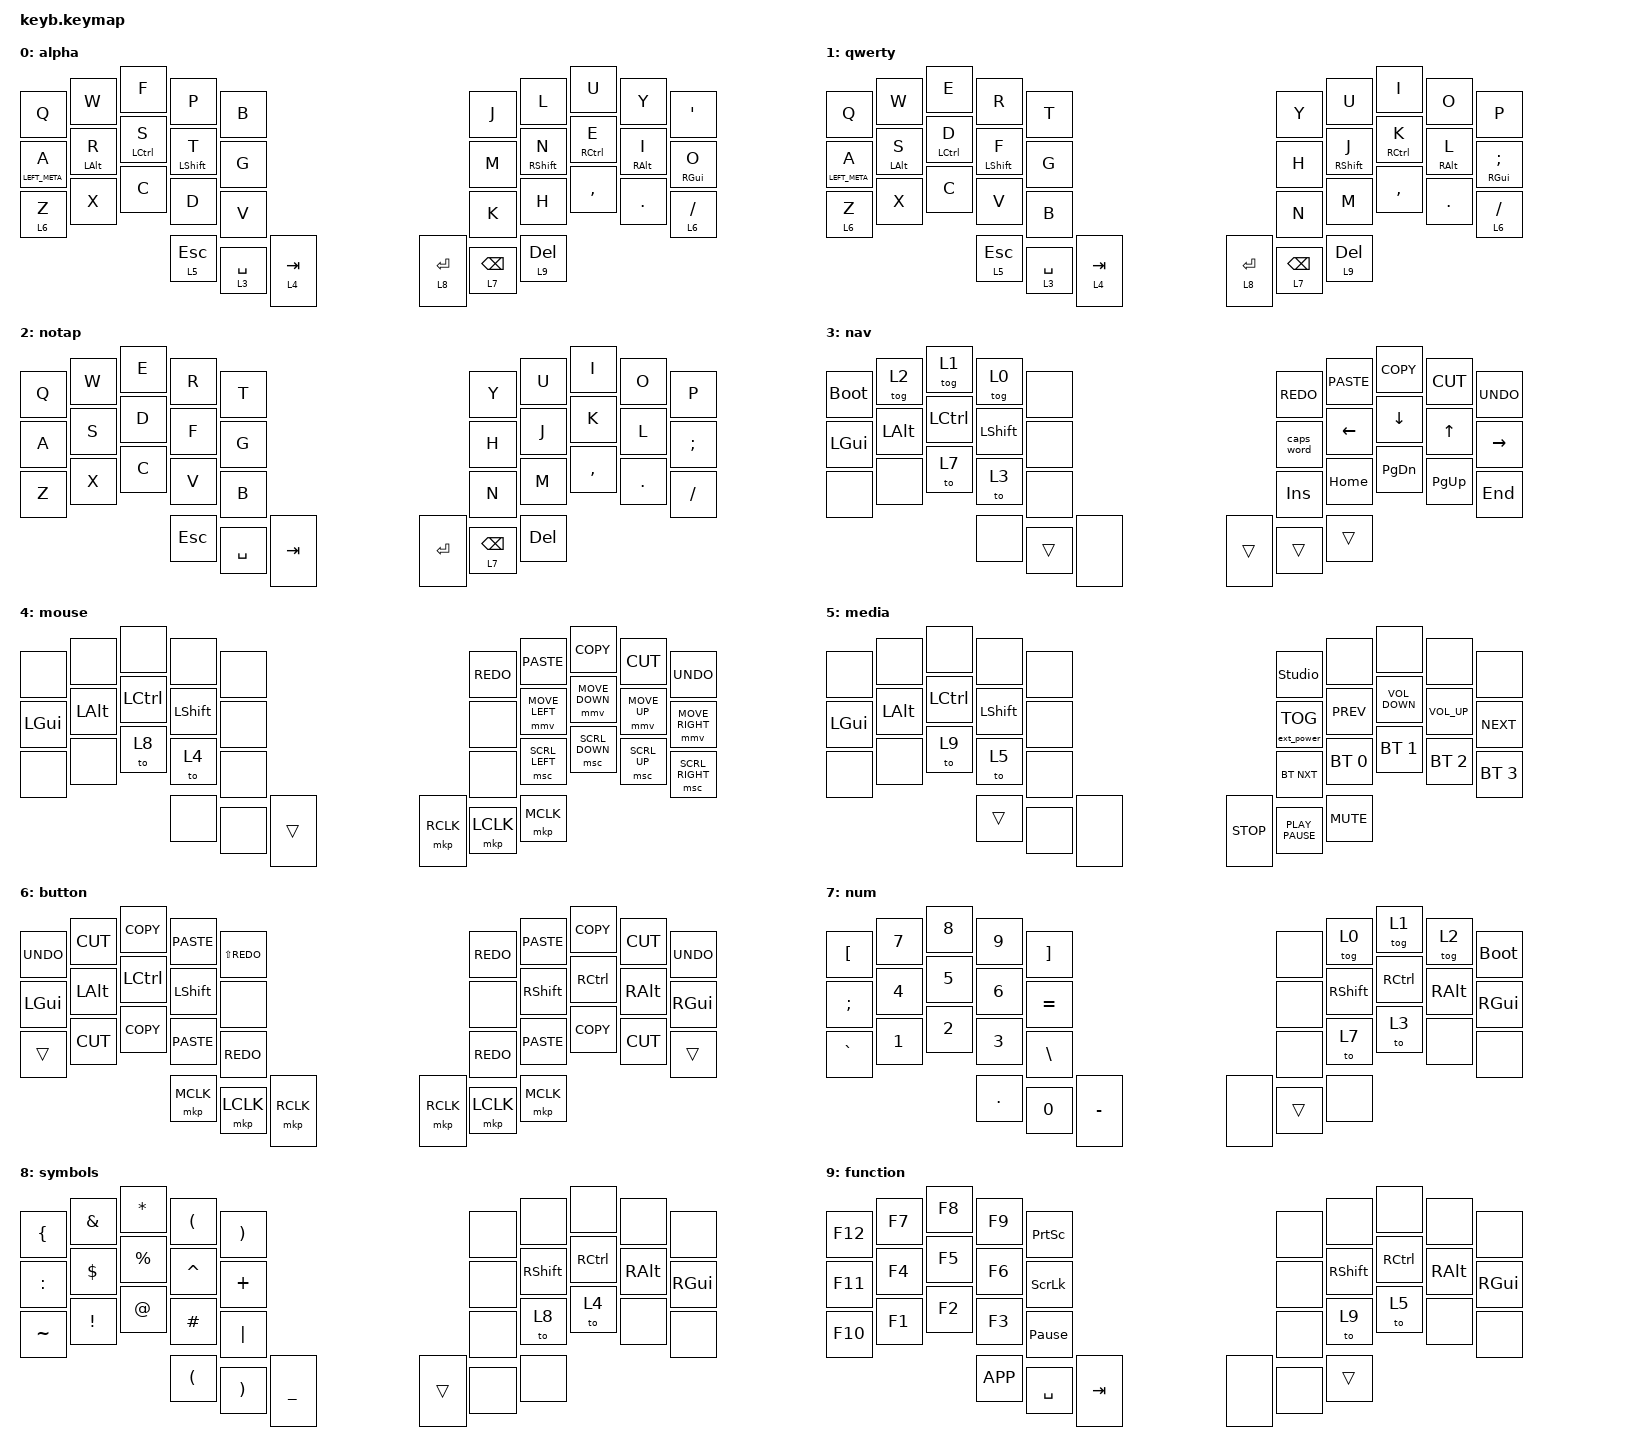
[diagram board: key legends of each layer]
#include <behaviors.dtsi>
#include <dt-bindings/zmk/bt.h>
#include <dt-bindings/zmk/ext_power.h>
#include <dt-bindings/zmk/keys.h>
#include <dt-bindings/zmk/pointing.h>

/ {
    keymap {
        compatible = "zmk,keymap";

        base {
            bindings = <
&kp Q            &kp W           &kp F         &kp P         &kp B      &kp J        &kp L              &kp U         &kp Y       &kp SQT
&mt LEFT_META A  &mt LEFT_ALT R  &mt LCTRL S   &mt LSHIFT T  &kp G      &kp M        &mt RIGHT_SHIFT N  &mt RCTRL E   &mt RALT I  &mt RGUI O
&lt 6 Z          &kp X           &kp C         &kp D         &kp V      &kp K        &kp H              &kp COMMA     &kp DOT     &lt 6 SLASH
                                 &lt 5 ESCAPE  &lt 3 SPACE   &lt 4 TAB  &lt 8 ENTER  &lt 7 BACKSPACE    &lt 9 DELETE
            >;

            label = "alpha";
        };

        extra {
            bindings = <
&kp Q            &kp W           &kp E         &kp R         &kp T      &kp Y        &kp U              &kp I         &kp O       &kp P
&mt LEFT_META A  &mt LEFT_ALT S  &mt LCTRL D   &mt LSHIFT F  &kp G      &kp H        &mt RIGHT_SHIFT J  &mt RCTRL K   &mt RALT L  &mt RGUI SEMICOLON
&lt 6 Z          &kp X           &kp C         &kp V         &kp B      &kp N        &kp M              &kp COMMA     &kp DOT     &lt 6 SLASH
                                 &lt 5 ESCAPE  &lt 3 SPACE   &lt 4 TAB  &lt 8 ENTER  &lt 7 BACKSPACE    &lt 9 DELETE
            >;

            label = "qwerty";
        };

        tap {
            bindings = <
&kp Q  &kp W  &kp E    &kp R      &kp T    &kp Y    &kp U            &kp I       &kp O    &kp P
&kp A  &kp S  &kp D    &kp F      &kp G    &kp H    &kp J            &kp K       &kp L    &kp SEMI
&kp Z  &kp X  &kp C    &kp V      &kp B    &kp N    &kp M            &kp COMMA   &kp DOT  &kp FSLH
              &kp ESC  &kp SPACE  &kp TAB  &kp RET  &lt 7 BACKSPACE  &kp DELETE
            >;

            label = "notap";
        };

        nav {
            bindings = <
&bootloader  &tog 2    &tog 1     &tog 0      &none  &kp K_REDO  &kp K_PASTE  &kp K_COPY     &kp K_CUT    &kp K_UNDO
&kp LGUI     &kp LALT  &kp LCTRL  &kp LSHIFT  &none  &caps_word  &kp LEFT     &kp DOWN       &kp UP       &kp RIGHT
&none        &none     &to 7      &to 3       &none  &kp INSERT  &kp HOME     &kp PAGE_DOWN  &kp PAGE_UP  &kp END
                       &none      &trans      &none  &trans      &trans       &trans
            >;
        };

        mouse {
            bindings = <
&none     &none     &none      &none       &none   &kp K_REDO  &kp K_PASTE     &kp K_COPY      &kp K_CUT     &kp K_UNDO
&kp LGUI  &kp LALT  &kp LCTRL  &kp LSHIFT  &none   &none       &mmv MOVE_LEFT  &mmv MOVE_DOWN  &mmv MOVE_UP  &mmv MOVE_RIGHT
&none     &none     &to 8      &to 4       &none   &none       &msc SCRL_LEFT  &msc SCRL_DOWN  &msc SCRL_UP  &msc SCRL_RIGHT
                    &none      &none       &trans  &mkp RCLK   &mkp LCLK       &mkp MCLK
            >;
        };

        media {
            bindings = <
&none     &none     &none      &none       &none  &studio_unlock     &none             &none              &none            &none
&kp LGUI  &kp LALT  &kp LCTRL  &kp LSHIFT  &none  &ext_power EP_TOG  &kp K_PREV        &kp C_VOLUME_DOWN  &kp C_VOLUME_UP  &kp K_NEXT
&none     &none     &to 9      &to 5       &none  &bt BT_NXT         &bt BT_SEL 0      &bt BT_SEL 1       &bt BT_SEL 2     &bt BT_SEL 3
                    &trans     &none       &none  &kp K_STOP         &kp K_PLAY_PAUSE  &kp K_MUTE
            >;
        };

        button {
            bindings = <
&kp K_UNDO  &kp K_CUT  &kp K_COPY  &kp K_PASTE  &kp LS(K_REDO)  &kp K_REDO  &kp K_PASTE      &kp K_COPY  &kp K_CUT  &kp K_UNDO
&kp LGUI    &kp LALT   &kp LCTRL   &kp LSHIFT   &none           &none       &kp RIGHT_SHIFT  &kp RCTRL   &kp RALT   &kp RGUI
&trans      &kp K_CUT  &kp K_COPY  &kp K_PASTE  &kp K_REDO      &kp K_REDO  &kp K_PASTE      &kp K_COPY  &kp K_CUT  &trans
                       &mkp MCLK   &mkp LCLK    &mkp RCLK       &mkp RCLK   &mkp LCLK        &mkp MCLK
            >;
        };

        num {
            bindings = <
&kp LBKT   &kp N7  &kp N8   &kp N9  &kp RBKT   &none  &tog 0           &tog 1     &tog 2    &bootloader
&kp SEMI   &kp N4  &kp N5   &kp N6  &kp EQUAL  &none  &kp RIGHT_SHIFT  &kp RCTRL  &kp RALT  &kp RGUI
&kp GRAVE  &kp N1  &kp N2   &kp N3  &kp BSLH   &none  &to 7            &to 3      &none     &none
                   &kp DOT  &kp N0  &kp MINUS  &none  &trans           &none
            >;
        };

        symbols {
            bindings = <
&kp LEFT_BRACE  &kp AMPERSAND    &kp ASTERISK          &kp LEFT_PARENTHESIS   &kp RIGHT_PARENTHESIS  &none   &none            &none      &none     &none
&kp COLON       &kp DOLLAR       &kp PERCENT           &kp CARET              &kp PLUS               &none   &kp RIGHT_SHIFT  &kp RCTRL  &kp RALT  &kp RGUI
&kp TILDE       &kp EXCLAMATION  &kp AT                &kp HASH               &kp PIPE               &none   &to 8            &to 4      &none     &none
                                 &kp LEFT_PARENTHESIS  &kp RIGHT_PARENTHESIS  &kp UNDERSCORE         &trans  &none            &none
            >;
        };

        function {
            bindings = <
&kp F12  &kp F7  &kp F8     &kp F9     &kp PRINTSCREEN  &none  &none            &none      &none     &none
&kp F11  &kp F4  &kp F5     &kp F6     &kp SCROLLLOCK   &none  &kp RIGHT_SHIFT  &kp RCTRL  &kp RALT  &kp RGUI
&kp F10  &kp F1  &kp F2     &kp F3     &kp PAUSE_BREAK  &none  &to 9            &to 5      &none     &none
                 &kp K_APP  &kp SPACE  &kp TAB          &none  &none            &trans
            >;
        };
    };
};
